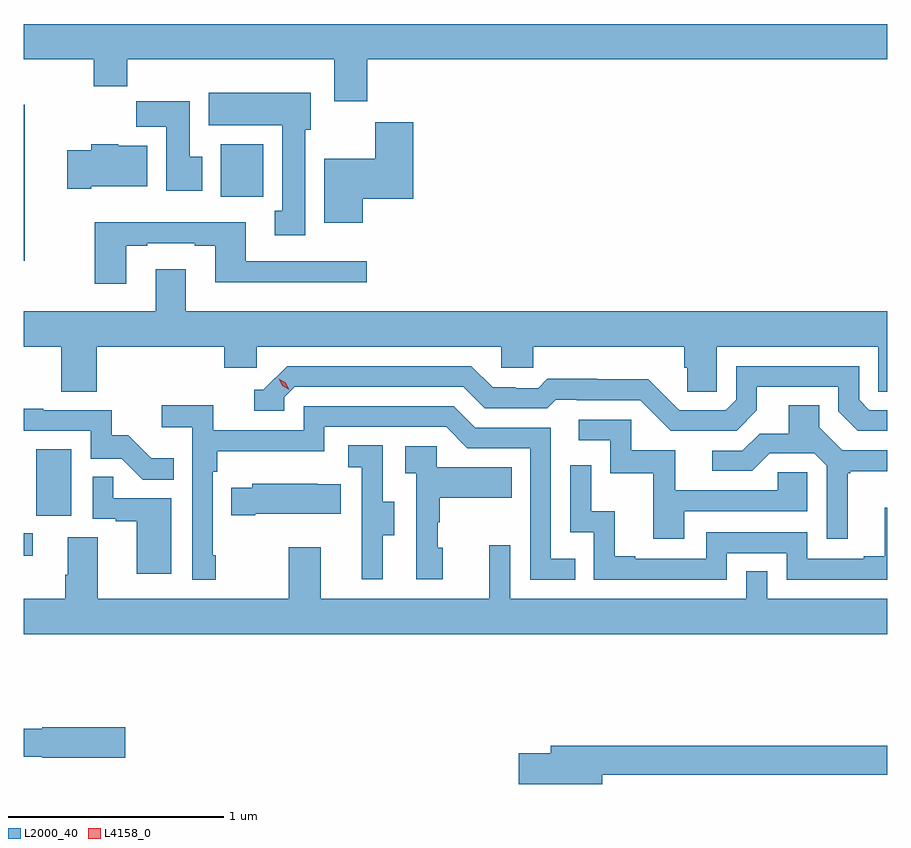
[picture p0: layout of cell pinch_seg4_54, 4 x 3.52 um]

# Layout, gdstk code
import gdstk
lib = gdstk.Library(unit=1e-6, precision=1e-09)
def R(c, l, rs):  # rectangles x0, y0, x1, y1
    for r in rs: c.add(gdstk.rectangle(r[:2], r[2:], *l))
def P(c, l, *ps):  # polygons
    for p in ps: c.add(gdstk.Polygon(p, *l))
L2000_40 = (2000, 40)
L4158_0 = (4158, 0)

pinch_seg4_54 = lib.new_cell('pinch_seg4_54')
R(pinch_seg4_54, L2000_40, [(1018.632,827.82,1018.672,827.925), (1018.688,828.006,1018.852,828.313), (1018.632,829.188,1018.636,829.909), (1019.543,829.484,1019.74,829.726)])
P(pinch_seg4_54, L2000_40, [(1020.224,830.12),(1022.632,830.12),(1022.632,830.284),(1018.632,830.284),(1018.632,830.12),(1018.955,830.12),(1018.955,829.996),(1019.111,829.996),(1019.111,830.12),(1020.071,830.12),(1020.071,829.926),(1020.224,829.926)],
  [(1019.935,829.794),(1019.962,829.794),(1019.962,829.966),(1019.489,829.966),(1019.489,829.814),(1019.828,829.814),(1019.828,829.418),(1019.795,829.418),(1019.795,829.305),(1019.935,829.305)],
  [(1019.458,829.668),(1019.401,829.668),(1019.401,829.927),(1019.152,829.927),(1019.152,829.808),(1019.291,829.808),(1019.291,829.512),(1019.458,829.512)],
  [(1020.202,829.475),(1020.437,829.475),(1020.437,829.828),(1020.259,829.828),(1020.259,829.66),(1020.023,829.66),(1020.023,829.364),(1020.202,829.364)],
  [(1018.945,829.532),(1019.203,829.532),(1019.203,829.72),(1019.07,829.72),(1019.07,829.726),(1018.945,829.726),(1018.945,829.698),(1018.833,829.698),(1018.833,829.52),(1018.945,829.52)],
  [(1019.107,829.257),(1019.203,829.257),(1019.203,829.269),(1019.423,829.269),(1019.423,829.257),(1019.519,829.257),(1019.519,829.088),(1020.22,829.088),(1020.22,829.185),(1019.659,829.185),(1019.659,829.366),(1018.96,829.366),(1018.96,829.08),(1019.107,829.08)],
  [(1018.97,828.788),(1019.561,828.788),(1019.561,828.69),(1019.712,828.69),(1019.712,828.788),(1020.843,828.788),(1020.843,828.69),(1020.993,828.69),(1020.993,828.788),(1021.691,828.788),(1021.691,828.69),(1021.705,828.69),(1021.705,828.58),(1021.842,828.58),(1021.842,828.788),(1022.592,828.788),(1022.592,828.58),(1022.632,828.58),(1022.632,828.952),(1019.383,828.952),(1019.383,829.147),(1019.243,829.147),(1019.243,828.952),(1018.632,828.952),(1018.632,828.788),(1018.805,828.788),(1018.805,828.58),(1018.97,828.58)],
  [(1022.029,828.493),(1022.029,828.603),(1022.406,828.603),(1022.406,828.489),(1022.496,828.399),(1022.632,828.399),(1022.632,828.495),(1022.55,828.495),(1022.502,828.543),(1022.502,828.699),(1021.932,828.699),(1021.932,828.543),(1021.884,828.495),(1021.668,828.495),(1021.526,828.637),(1021.29,828.637),(1021.29,828.64),(1021.057,828.64),(1021.015,828.597),(1020.912,828.597),(1020.912,828.6),(1020.805,828.6),(1020.706,828.699),(1019.853,828.699),(1019.742,828.588),(1019.699,828.588),(1019.699,828.492),(1019.838,828.492),(1019.838,828.555),(1019.886,828.603),(1020.669,828.603),(1020.768,828.504),(1021.057,828.504),(1021.096,828.543),(1021.195,828.543),(1021.195,828.54),(1021.488,828.54),(1021.629,828.399),(1021.935,828.399)],
  [(1019.521,827.821),(1019.508,827.821),(1019.508,828.209),(1019.528,828.209),(1019.528,828.305),(1020.024,828.305),(1020.024,828.417),(1020.588,828.417),(1020.687,828.318),(1020.978,828.318),(1020.978,827.709),(1021.187,827.709),(1021.187,827.805),(1021.074,827.805),(1021.074,828.414),(1020.724,828.414),(1020.625,828.513),(1019.928,828.513),(1019.928,828.402),(1019.51,828.402),(1019.51,828.518),(1019.271,828.518),(1019.271,828.416),(1019.412,828.416),(1019.412,827.709),(1019.521,827.709)],
  [(1022.449,828.201),(1022.461,828.201),(1022.461,828.212),(1022.632,828.212),(1022.632,828.309),(1022.424,828.309),(1022.317,828.416),(1022.317,828.518),(1022.177,828.518),(1022.177,828.386),(1022.042,828.386),(1021.962,828.306),(1021.821,828.306),(1021.821,828.213),(1022.008,828.213),(1022.089,828.294),(1022.295,828.294),(1022.352,828.237),(1022.352,827.898),(1022.449,827.898)],
  [(1019.327,828.271),(1019.223,828.271),(1019.116,828.378),(1019.04,828.378),(1019.04,828.495),(1018.721,828.495),(1018.721,828.5),(1018.632,828.5),(1018.632,828.399),(1018.941,828.399),(1018.941,828.27),(1019.085,828.27),(1019.183,828.172),(1019.327,828.172)],
  [(1021.693,828.027),(1022.262,828.027),(1022.262,828.207),(1022.125,828.207),(1022.125,828.123),(1021.651,828.123),(1021.651,828.309),(1021.446,828.309),(1021.446,828.45),(1021.203,828.45),(1021.203,828.354),(1021.35,828.354),(1021.35,828.201),(1021.549,828.201),(1021.549,827.898),(1021.693,827.898)],
  [(1020.295,827.914),(1020.349,827.914),(1020.349,828.069),(1020.294,828.069),(1020.294,828.332),(1020.135,828.332),(1020.135,828.229),(1020.198,828.229),(1020.198,827.925),(1020.197,827.925),(1020.197,827.712),(1020.295,827.712)],
  [(1020.574,827.856),(1020.549,827.856),(1020.549,827.975),(1020.559,827.975),(1020.559,828.089),(1020.893,828.089),(1020.893,828.229),(1020.546,828.229),(1020.546,828.327),(1020.399,828.327),(1020.399,828.203),(1020.45,828.203),(1020.45,827.712),(1020.574,827.712)],
  [(1021.89,827.832),(1022.166,827.832),(1022.166,827.709),(1022.632,827.709),(1022.632,828.043),(1022.621,828.043),(1022.621,827.818),(1022.525,827.818),(1022.525,827.805),(1022.262,827.805),(1022.262,827.928),(1021.794,827.928),(1021.794,827.805),(1021.465,827.805),(1021.465,827.818),(1021.37,827.818),(1021.37,828.026),(1021.26,828.026),(1021.26,828.238),(1021.164,828.238),(1021.164,827.928),(1021.272,827.928),(1021.272,827.709),(1021.89,827.709)],
  [(1019.314,828.087),(1019.045,828.087),(1019.045,828.185),(1018.95,828.185),(1018.95,827.991),(1019.057,827.991),(1019.057,827.979),(1019.156,827.979),(1019.156,827.736),(1019.314,827.736)],
  [(1019.704,828.014),(1020.101,828.014),(1020.101,828.151),(1019.993,828.151),(1019.993,828.154),(1019.691,828.154),(1019.691,828.136),(1019.593,828.136),(1019.593,828.007),(1019.704,828.007)],
  [(1018.835,827.906),(1018.835,827.732),(1018.823,827.732),(1018.823,827.62),(1018.632,827.62),(1018.632,827.456),(1022.632,827.456),(1022.632,827.62),(1022.076,827.62),(1022.076,827.747),(1021.98,827.747),(1021.98,827.62),(1020.885,827.62),(1020.885,827.869),(1020.788,827.869),(1020.788,827.62),(1020.007,827.62),(1020.007,827.86),(1019.86,827.86),(1019.86,827.62),(1018.975,827.62),(1018.975,827.906)],
  [(1019.101,827.025),(1018.716,827.025),(1018.716,827.017),(1018.632,827.017),(1018.632,826.888),(1018.716,826.888),(1018.716,826.883),(1019.101,826.883)],
  [(1021.312,826.804),(1022.632,826.804),(1022.632,826.94),(1021.073,826.94),(1021.073,826.904),(1020.924,826.904),(1020.924,826.762),(1021.312,826.762)])
P(pinch_seg4_54, L4158_0, [(1019.861,828.588),(1019.83,828.607),(1019.813,828.64),(1019.813,828.64),(1019.814,828.64),(1019.845,828.621),(1019.861,828.588),(1019.861,828.588)])

lib.write_gds('pinch_seg4_54.gds')
